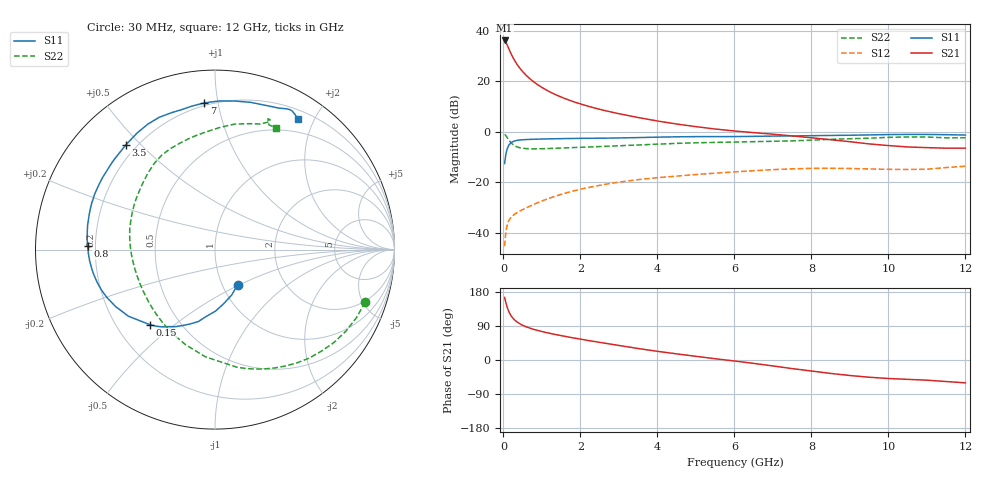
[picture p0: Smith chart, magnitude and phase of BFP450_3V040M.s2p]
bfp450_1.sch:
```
<Qucs Schematic 0.0.19>
<Properties>
  <View=0,0,922,1130,1,0,0>
  <Grid=10,10,1>
  <DataSet=bfp450_1.dat>
  <DataDisplay=bfp450_1.dpl>
  <OpenDisplay=1>
  <Script=bfp450_1.m>
  <RunScript=0>
  <showFrame=0>
  <FrameText0=Title>
  <FrameText1=Drawn By:>
  <FrameText2=Date:>
  <FrameText3=Revision:>
</Properties>
<Symbol>
</Symbol>
<Components>
  <Pac P1 1 140 150 18 -26 0 1 "1" 1 "50 Ohm" 1 "0 dBm" 0 "1 GHz" 0 "26.85" 0>
  <GND * 1 140 180 0 0 0 0>
  <.SP SP1 1 110 250 0 71 0 0 "lin" 1 "0.03 GHz" 1 "12 GHz" 1 "200" 1 "yes" 0 "1" 0 "2" 0 "no" 0 "no" 0>
  <.SP SP2 0 110 430 0 71 0 0 "const" 1 "0.03 GHz" 0 "12 GHz" 0 "[900MHz]" 1 "yes" 0 "1" 0 "2" 0 "no" 0 "no" 0>
  <.SP SP3 0 110 570 0 71 0 0 "lin" 1 "100MHz" 1 "2000MHz" 1 "200" 1 "yes" 0 "1" 0 "2" 0 "no" 0 "no" 0>
  <Eqn Eqn1 1 310 250 -28 15 0 0 "K=StabFactor(S)" 1 "Fmindb=w2dbm(Fmin)-30" 1 "Fdb=w2dbm(F)-30" 1 "yes" 0>
  <Eqn Eqn2 0 320 430 -28 15 0 0 "GA=GaCircle(S,linspace(50,200,16))" 1 "GP=GpCircle(S,linspace(50,200,16))" 1 "SL=StabCircleL(S)" 1 "SG=StabCircleS(S)" 1 "NF=NoiseCircle(Sopt,Fmin,Rn,[Fmin,1.4,1.5,2,2.5,3])" 1 "yes" 0>
  <Pac P2 1 570 150 18 -26 0 1 "2" 1 "50 Ohm" 1 "0 dBm" 0 "1 GHz" 0 "26.85" 0>
  <GND * 1 570 180 0 0 0 0>
  <GND * 1 350 150 0 0 0 0>
  <SPfile X1 1 350 120 -26 -53 0 0 "BFP450_3V040M.s2p" 1 "rectangular" 0 "linear" 0 "open" 0 "2" 0>
</Components>
<Wires>
  <380 120 570 120 "" 0 0 0 "">
  <140 120 320 120 "" 0 0 0 "">
</Wires>
<Diagrams>
</Diagrams>
<Paintings>
  <Text 390 410 12 #ff0000 0 "Deactivate, if simulation other than\nSP2 is used">
  <Text 190 30 14 #000000 0 "Check of S-Parameters of Bare Transistor">
</Paintings>
```
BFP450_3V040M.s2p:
! Infineon Technologies  Discrete & RF Semiconductors
! BFP450
! VCE =  3.0 V,  IC =  40 mA
! Common Emitter S-Parameters:  Sep 2010
# GHz  S  MA  R  50
!  f  S11  S21  S12  S22
! GHz  MAG  ANG  MAG  ANG  MAG  ANG  MAG  ANG
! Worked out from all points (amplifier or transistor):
!   58 points, 30 MHz to 12 GHz, reference 50 ohm
!   highest |S21| = 36.2 dB at 30 MHz (marker M1)
!   |S21| within 3 dB of that: start of sweep to 130.9 MHz
!   unconditionally stable (mu >= 1): 1.283 GHz to end of sweep
!   at 120 MHz: K = 0.27, MSG = 34.8 dB, |S12| = -36.0 dB
!   at 1.5 GHz: K = 1.03, MAG = 18.1 dB, |S12| = -24.8 dB
!   at 12 GHz: K = 1.09, MAG = 1.7 dB, |S12| = -13.6 dB
!   lowest NFmin = 1.41 dB at 450 MHz
!   S11 on the Smith chart (normalised r, x): 30 MHz: 1.18, -0.49; 150 MHz: 0.34, -0.41; 800 MHz: 0.17, +0.01; 3.5 GHz: 0.16, +0.45; 7 GHz: 0.18, +0.91; 12 GHz: 0.32, +1.78
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0.03  0.2335 -57.5  64.36 165.3  0.0054 76.0  0.8866 -19.3
0.08  0.411 -103.0  55.8 145.0  0.0123 62.8  0.8006 -49.0
0.15  0.5538 -131.0  42.21 125.6  0.0179 51.2  0.6664 -79.5
0.25  0.6383 -150.2  29.29 110.0  0.022 45.0  0.5543 -107.3
0.35  0.6725 -160.7  21.81 100.7  0.0248 44.1  0.5021 -125.1
0.8  0.7102 178.5  9.557 80.4  0.0367 48.5  0.4581 -161.5
1.7  0.7342 159.2  4.247 60.5  0.0635 48.6  0.482 170.6
3.5  0.7657 130.6  1.911 30.3  0.1124 32.1  0.5462 137.6
6.5  0.8094 99.3  0.96 -8.9  0.1689 3.3  0.6358 103.1
7  0.8196 94.2  0.893 -15.7  0.1774 -2.2  0.6461 98.7
12  0.8604 57.5  0.473 -60.3  0.2079 -40.6  0.7588 63.6
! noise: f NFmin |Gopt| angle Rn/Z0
0.45  1.41  0.49  -173  0.06
0.9  1.48  0.51  -169  0.07
1.9  1.59  0.57  -153  0.1
2.4  1.69  0.58  -145  0.12

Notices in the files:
qucs-doc/tutorial/sparameteramp/S_PARAM_AMP_prj/BFP450_3V040M.s2p:
(c) 2010  Infineon Technologies AG, Munich
